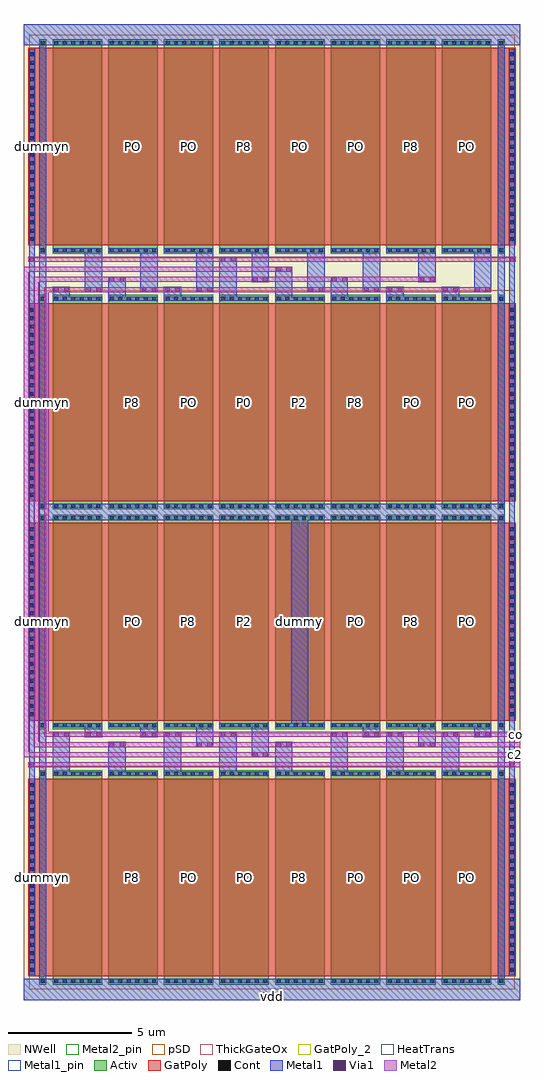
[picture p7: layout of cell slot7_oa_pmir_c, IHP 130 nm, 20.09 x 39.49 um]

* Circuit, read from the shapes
.subckt slot7_oa_pmir_c c2 c8 co vdd vpg
XM1 vdd vpg vdd n1 sg13_hv_pmos w=0.3u l=8u m=8
XM2 co vpg vdd n1 sg13_hv_pmos w=2u l=8u m=20
XM3 c8 vpg vdd n1 sg13_hv_pmos w=2u l=8u m=8
XM4 vdd vpg c2 n1 sg13_hv_pmos w=2u l=8u m=2
XM5 vpg vpg vdd n1 sg13_hv_pmos w=2u l=8u
XM6 vdd vpg vdd n1 sg13_hv_pmos w=2u l=8u
.ends

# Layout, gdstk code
from math import pi, radians
import gdstk
lib = gdstk.Library(unit=1e-6, precision=1e-09)
def R(c, l, rs):  # rectangles x0, y0, x1, y1
    for r in rs: c.add(gdstk.rectangle(r[:2], r[2:], *l))
def A(c, l, x, y, w, h, nx, ny, dx, dy):  # array of equal rectangles
    R(c, l, [(x+i*dx, y+j*dy, x+i*dx+w, y+j*dy+h) for i in range(nx) for j in range(ny)])
Activ = (1, 0)
GatPoly = (5, 0)
GatPoly_2 = (5, 2)
Cont = (6, 0)
Metal1 = (8, 0)
Metal1_pin = (8, 2)
Metal2 = (10, 0)
Metal2_pin = (10, 2)
pSD = (14, 0)
Via1 = (19, 0)
NWell = (31, 0)
ThickGateOx = (44, 0)
HeatTrans = (51, 0)

slot7_pmoshv_9 = lib.new_cell('slot7_pmosHV_9')
R(slot7_pmoshv_9, Activ, [(0,0,0.3,0.3), (0,0,8.68,2), (8.38,0,8.68,0.3)])
R(slot7_pmoshv_9, GatPoly, [(0.34,-0.18,8.34,2.18)])
R(slot7_pmoshv_9, GatPoly_2, [(0.34,-0.18,8.34,2.18)])
A(slot7_pmoshv_9, Cont, 0.07, 0.07, 0.16, 0.16, 1, 6, 0, 0.34)
A(slot7_pmoshv_9, Cont, 8.45, 0.07, 0.16, 0.16, 1, 6, 0, 0.34)
R(slot7_pmoshv_9, Metal1, [(0.07,0,0.23,2), (8.45,0,8.61,2)])
R(slot7_pmoshv_9, Metal1_pin, [(0.07,0,0.23,2), (8.45,0,8.61,2)])
R(slot7_pmoshv_9, pSD, [(-0.18,-0.4,8.86,2.4)])
R(slot7_pmoshv_9, NWell, [(-0.62,-0.62,9.3,2.62)])
R(slot7_pmoshv_9, ThickGateOx, [(-0.62,-0.62,9.3,2.62)])
R(slot7_pmoshv_9, HeatTrans, [(0.34,-0.18,8.34,2.18)])
slot7_pmoshv_9.add(gdstk.Label('pmosHV', (4.34,1), layer=63, texttype=0))
slot7_pmoshv_9.add(gdstk.Label('pmos', (4.34,1), layer=51, texttype=0))

slot7_pmoshv_w0p3_l8 = lib.new_cell('slot7_pmosHV_w0p3_l8')
R(slot7_pmoshv_w0p3_l8, Activ, [(0,0,0.3,0.3), (0,0,8.68,0.3), (8.38,0,8.68,0.3)])
R(slot7_pmoshv_w0p3_l8, GatPoly, [(0.34,-0.18,8.34,0.48)])
R(slot7_pmoshv_w0p3_l8, GatPoly_2, [(0.34,-0.18,8.34,0.48)])
R(slot7_pmoshv_w0p3_l8, Cont, [(0.07,0.07,0.23,0.23), (8.45,0.07,8.61,0.23)])
R(slot7_pmoshv_w0p3_l8, Metal1, [(0.07,0,0.23,0.3), (8.45,0,8.61,0.3)])
R(slot7_pmoshv_w0p3_l8, Metal1_pin, [(0.07,0,0.23,0.3), (8.45,0,8.61,0.3)])
R(slot7_pmoshv_w0p3_l8, pSD, [(-0.18,-0.4,8.86,0.7)])
R(slot7_pmoshv_w0p3_l8, NWell, [(-0.62,-0.62,9.3,0.92)])
R(slot7_pmoshv_w0p3_l8, ThickGateOx, [(-0.62,-0.62,9.3,0.92)])
R(slot7_pmoshv_w0p3_l8, HeatTrans, [(0.34,-0.18,8.34,0.48)])
slot7_pmoshv_w0p3_l8.add(gdstk.Label('pmosHV', (4.34,0.15), layer=63, texttype=0))
slot7_pmoshv_w0p3_l8.add(gdstk.Label('pmos', (4.34,0.15), layer=51, texttype=0))

slot7_oa_pmir_c = lib.new_cell('slot7_oa_pmir_c')
R(slot7_oa_pmir_c, GatPoly, [(-0.435,0.34,0,8.34), (18.85,0.34,19.285,8.34), (-0.435,10.68,0,18.68), (18.85,10.68,19.285,18.68), (-0.435,19.57,0,27.57), (18.85,19.57,19.285,27.57), (-0.435,29.91,0,37.91), (18.85,29.91,19.285,37.91)])
A(slot7_oa_pmir_c, Cont, -0.365, 0.52, 0.16, 0.16, 1, 23, 0, 0.34)
A(slot7_oa_pmir_c, Cont, 19.055, 0.52, 0.16, 0.16, 1, 23, 0, 0.34)
A(slot7_oa_pmir_c, Cont, -0.365, 10.86, 0.16, 0.16, 1, 23, 0, 0.34)
A(slot7_oa_pmir_c, Cont, 19.055, 10.86, 0.16, 0.16, 1, 23, 0, 0.34)
A(slot7_oa_pmir_c, Cont, -0.365, 19.75, 0.16, 0.16, 1, 23, 0, 0.34)
A(slot7_oa_pmir_c, Cont, 19.055, 19.75, 0.16, 0.16, 1, 23, 0, 0.34)
A(slot7_oa_pmir_c, Cont, -0.365, 30.09, 0.16, 0.16, 1, 23, 0, 0.34)
A(slot7_oa_pmir_c, Cont, 19.055, 30.09, 0.16, 0.16, 1, 23, 0, 0.34)
A(slot7_oa_pmir_c, Metal1, 11.8, 8.45, 0.7, 1.78, 3, 1, 2.25, 0)
A(slot7_oa_pmir_c, Metal1, 1.85, 28.02, 0.7, 1.78, 3, 1, 2.25, 0)
R(slot7_oa_pmir_c, Metal1, [(-0.62,-0.62,19.47,0.23), (0,0.07,0.3,8.61), (18.55,0.07,18.85,8.61), (-0.39,0.41,-0.18,37.84), (19.03,0.41,19.24,37.84), (0.55,8.45,1.25,10.23), (2.8,8.45,3.5,9.82), (5.05,8.45,5.75,10.23), (7.3,8.45,8,10.23), (9.55,8.45,10.25,9.82), (0,8.61,0.3,10.41), (18.55,8.61,18.85,10.41), (8.6,9.2,9.3,10.57), (6.35,9.61,7.05,10.57), (15.35,9.61,16.05,10.57), (1.85,10.02,2.55,10.57), (4.1,10.02,4.8,10.57), (13.1,10.02,13.8,10.57), (17.6,10.02,18.3,10.57), (0,10.41,0.3,18.95), (10.2,10.41,10.9,18.95), (18.55,10.41,18.85,18.95), (0,18.79,18.85,19.46), (0,19.3,0.3,27.84), (18.55,19.3,18.85,27.84), (0.55,27.68,1.25,28.23), (2.8,27.68,3.5,28.64), (5.05,27.68,5.75,28.23), (7.3,27.68,8,29.46), (9.55,27.68,10.25,29.05), (11.8,27.68,12.5,28.64), (14.05,27.68,14.75,28.23), (16.3,27.68,17,28.23), (0,27.84,0.3,29.64), (18.55,27.84,18.85,29.64), (10.85,28.02,11.55,29.8), (13.1,28.02,13.8,29.8), (17.6,28.02,18.3,29.8), (8.6,28.43,9.3,29.8), (15.35,28.43,16.05,29.8), (0,29.64,0.3,38.18), (18.55,29.64,18.85,38.18), (-0.62,38.02,19.47,38.87)])
R(slot7_oa_pmir_c, Metal1_pin, [(9.025,-0.62,9.825,-0.3)])
R(slot7_oa_pmir_c, Metal2, [(-0.43,8.795,19.47,8.995), (-0.62,9.205,19.47,9.405), (-0.62,9.205,-0.42,29.045), (-0.21,9.615,19.47,9.815), (-0.21,9.615,-0.01,28.635), (0.2,10.025,19.47,10.225), (0.2,10.025,0.4,28.225), (0.2,28.025,18.3,28.225), (-0.21,28.435,16.05,28.635), (-0.62,28.845,10.25,29.045), (-0.43,29.255,19.28,29.455)])
A(slot7_oa_pmir_c, Metal2_pin, 19.07, 8.795, 0.4, 0.2, 1, 4, 0, 0.41)
R(slot7_oa_pmir_c, Via1, [(-0.38,8.8,-0.19,8.99), (19.04,8.8,19.23,8.99), (8.65,9.21,8.84,9.4), (9.06,9.21,9.25,9.4), (2.85,9.62,3.04,9.81), (3.26,9.62,3.45,9.81), (6.4,9.62,6.59,9.81), (6.81,9.62,7,9.81), (9.6,9.62,9.79,9.81), (10.01,9.62,10.2,9.81), (15.4,9.62,15.59,9.81), (15.81,9.62,16,9.81), (0.6,10.03,0.79,10.22), (1.01,10.03,1.2,10.22), (1.9,10.03,2.09,10.22), (2.31,10.03,2.5,10.22), (4.15,10.03,4.34,10.22), (4.56,10.03,4.75,10.22), (5.1,10.03,5.29,10.22), (5.51,10.03,5.7,10.22), (7.35,10.03,7.54,10.22), (7.76,10.03,7.95,10.22), (11.85,10.03,12.04,10.22), (12.26,10.03,12.45,10.22), (13.15,10.03,13.34,10.22), (13.56,10.03,13.75,10.22), (14.1,10.03,14.29,10.22), (14.51,10.03,14.7,10.22), (16.35,10.03,16.54,10.22), (16.76,10.03,16.95,10.22), (17.65,10.03,17.84,10.22), (18.06,10.03,18.25,10.22), (0.6,28.03,0.79,28.22), (1.01,28.03,1.2,28.22), (1.9,28.03,2.09,28.22), (2.31,28.03,2.5,28.22), (4.15,28.03,4.34,28.22), (4.56,28.03,4.75,28.22), (5.1,28.03,5.29,28.22), (5.51,28.03,5.7,28.22), (6.4,28.03,6.59,28.22), (6.81,28.03,7,28.22), (10.9,28.03,11.09,28.22), (11.31,28.03,11.5,28.22), (13.15,28.03,13.34,28.22), (13.56,28.03,13.75,28.22), (14.1,28.03,14.29,28.22), (14.51,28.03,14.7,28.22), (16.35,28.03,16.54,28.22), (16.76,28.03,16.95,28.22), (17.65,28.03,17.84,28.22), (18.06,28.03,18.25,28.22), (2.85,28.44,3.04,28.63), (3.26,28.44,3.45,28.63), (8.65,28.44,8.84,28.63), (9.06,28.44,9.25,28.63), (11.85,28.44,12.04,28.63), (12.26,28.44,12.45,28.63), (15.4,28.44,15.59,28.63), (15.81,28.44,16,28.63), (9.6,28.85,9.79,29.04), (10.01,28.85,10.2,29.04), (-0.38,29.26,-0.19,29.45), (7.35,29.26,7.54,29.45), (7.76,29.26,7.95,29.45), (19.04,29.26,19.23,29.45)])
R(slot7_oa_pmir_c, NWell, [(-0.62,-0.62,19.47,38.87)])
R(slot7_oa_pmir_c, ThickGateOx, [(-0.62,-0.62,19.47,38.87)])
r = gdstk.Reference(slot7_pmoshv_9, (0.55,38.25), rotation=3*pi/2); r.repetition = gdstk.Repetition(1, 8, v1=(0,0), v2=(2.25,0)); slot7_oa_pmir_c.add(r)
r = gdstk.Reference(slot7_pmoshv_9, (0.55,27.91), rotation=3*pi/2); r.repetition = gdstk.Repetition(1, 8, v1=(0,0), v2=(2.25,0)); slot7_oa_pmir_c.add(r)
r = gdstk.Reference(slot7_pmoshv_9, (0.55,19.02), rotation=3*pi/2); r.repetition = gdstk.Repetition(1, 8, v1=(0,0), v2=(2.25,0)); slot7_oa_pmir_c.add(r)
r = gdstk.Reference(slot7_pmoshv_9, (0.55,8.68), rotation=3*pi/2); r.repetition = gdstk.Repetition(1, 8, v1=(0,0), v2=(2.25,0)); slot7_oa_pmir_c.add(r)
slot7_oa_pmir_c.add(gdstk.Reference(slot7_pmoshv_w0p3_l8, (0,38.25), rotation=3*pi/2))
slot7_oa_pmir_c.add(gdstk.Reference(slot7_pmoshv_w0p3_l8, (18.55,38.25), rotation=3*pi/2))
slot7_oa_pmir_c.add(gdstk.Reference(slot7_pmoshv_w0p3_l8, (0,27.91), rotation=3*pi/2))
slot7_oa_pmir_c.add(gdstk.Reference(slot7_pmoshv_w0p3_l8, (18.55,27.91), rotation=3*pi/2))
slot7_oa_pmir_c.add(gdstk.Reference(slot7_pmoshv_w0p3_l8, (0,19.02), rotation=3*pi/2))
slot7_oa_pmir_c.add(gdstk.Reference(slot7_pmoshv_w0p3_l8, (18.55,19.02), rotation=3*pi/2))
slot7_oa_pmir_c.add(gdstk.Reference(slot7_pmoshv_w0p3_l8, (0,8.68), rotation=3*pi/2))
slot7_oa_pmir_c.add(gdstk.Reference(slot7_pmoshv_w0p3_l8, (18.55,8.68), rotation=3*pi/2))
slot7_oa_pmir_c.add(gdstk.Label('vdd', (9.425,-0.46), layer=8, texttype=25))
slot7_oa_pmir_c.add(gdstk.Label('co', (19.27,10.125), layer=10, texttype=25))
slot7_oa_pmir_c.add(gdstk.Label('c8', (19.27,9.715), layer=10, texttype=25))
slot7_oa_pmir_c.add(gdstk.Label('c2', (19.27,9.305), layer=10, texttype=25))
slot7_oa_pmir_c.add(gdstk.Label('vpg', (19.27,8.895), layer=10, texttype=25))
slot7_oa_pmir_c.add(gdstk.Label('dummyn', (0.15,33.91), layer=63, texttype=0))
slot7_oa_pmir_c.add(gdstk.Label('PO', (1.55,33.91), layer=63, texttype=0))
slot7_oa_pmir_c.add(gdstk.Label('PO', (3.8,33.91), layer=63, texttype=0))
slot7_oa_pmir_c.add(gdstk.Label('PO', (6.05,33.91), layer=63, texttype=0))
slot7_oa_pmir_c.add(gdstk.Label('P8', (8.3,33.91), layer=63, texttype=0))
slot7_oa_pmir_c.add(gdstk.Label('PO', (10.55,33.91), layer=63, texttype=0))
slot7_oa_pmir_c.add(gdstk.Label('PO', (12.8,33.91), layer=63, texttype=0))
slot7_oa_pmir_c.add(gdstk.Label('P8', (15.05,33.91), layer=63, texttype=0))
slot7_oa_pmir_c.add(gdstk.Label('PO', (17.3,33.91), layer=63, texttype=0))
slot7_oa_pmir_c.add(gdstk.Label('dummyn', (18.7,33.91), layer=63, texttype=0))
slot7_oa_pmir_c.add(gdstk.Label('dummyn', (0.15,23.57), layer=63, texttype=0))
slot7_oa_pmir_c.add(gdstk.Label('PO', (1.55,23.57), layer=63, texttype=0))
slot7_oa_pmir_c.add(gdstk.Label('P8', (3.8,23.57), layer=63, texttype=0))
slot7_oa_pmir_c.add(gdstk.Label('PO', (6.05,23.57), layer=63, texttype=0))
slot7_oa_pmir_c.add(gdstk.Label('P0', (8.3,23.57), layer=63, texttype=0))
slot7_oa_pmir_c.add(gdstk.Label('P2', (10.55,23.57), layer=63, texttype=0))
slot7_oa_pmir_c.add(gdstk.Label('P8', (12.8,23.57), layer=63, texttype=0))
slot7_oa_pmir_c.add(gdstk.Label('PO', (15.05,23.57), layer=63, texttype=0))
slot7_oa_pmir_c.add(gdstk.Label('PO', (17.3,23.57), layer=63, texttype=0))
slot7_oa_pmir_c.add(gdstk.Label('dummyn', (18.7,23.57), layer=63, texttype=0))
slot7_oa_pmir_c.add(gdstk.Label('dummyn', (0.15,14.68), layer=63, texttype=0))
slot7_oa_pmir_c.add(gdstk.Label('PO', (1.55,14.68), layer=63, texttype=0))
slot7_oa_pmir_c.add(gdstk.Label('PO', (3.8,14.68), layer=63, texttype=0))
slot7_oa_pmir_c.add(gdstk.Label('P8', (6.05,14.68), layer=63, texttype=0))
slot7_oa_pmir_c.add(gdstk.Label('P2', (8.3,14.68), layer=63, texttype=0))
slot7_oa_pmir_c.add(gdstk.Label('dummy', (10.55,14.68), layer=63, texttype=0))
slot7_oa_pmir_c.add(gdstk.Label('PO', (12.8,14.68), layer=63, texttype=0))
slot7_oa_pmir_c.add(gdstk.Label('P8', (15.05,14.68), layer=63, texttype=0))
slot7_oa_pmir_c.add(gdstk.Label('PO', (17.3,14.68), layer=63, texttype=0))
slot7_oa_pmir_c.add(gdstk.Label('dummyn', (18.7,14.68), layer=63, texttype=0))
slot7_oa_pmir_c.add(gdstk.Label('dummyn', (0.15,4.34), layer=63, texttype=0))
slot7_oa_pmir_c.add(gdstk.Label('PO', (1.55,4.34), layer=63, texttype=0))
slot7_oa_pmir_c.add(gdstk.Label('P8', (3.8,4.34), layer=63, texttype=0))
slot7_oa_pmir_c.add(gdstk.Label('PO', (6.05,4.34), layer=63, texttype=0))
slot7_oa_pmir_c.add(gdstk.Label('PO', (8.3,4.34), layer=63, texttype=0))
slot7_oa_pmir_c.add(gdstk.Label('P8', (10.55,4.34), layer=63, texttype=0))
slot7_oa_pmir_c.add(gdstk.Label('PO', (12.8,4.34), layer=63, texttype=0))
slot7_oa_pmir_c.add(gdstk.Label('PO', (15.05,4.34), layer=63, texttype=0))
slot7_oa_pmir_c.add(gdstk.Label('PO', (17.3,4.34), layer=63, texttype=0))
slot7_oa_pmir_c.add(gdstk.Label('dummyn', (18.7,4.34), layer=63, texttype=0))

lib.write_gds('slot7_oa_pmir_c.gds')
